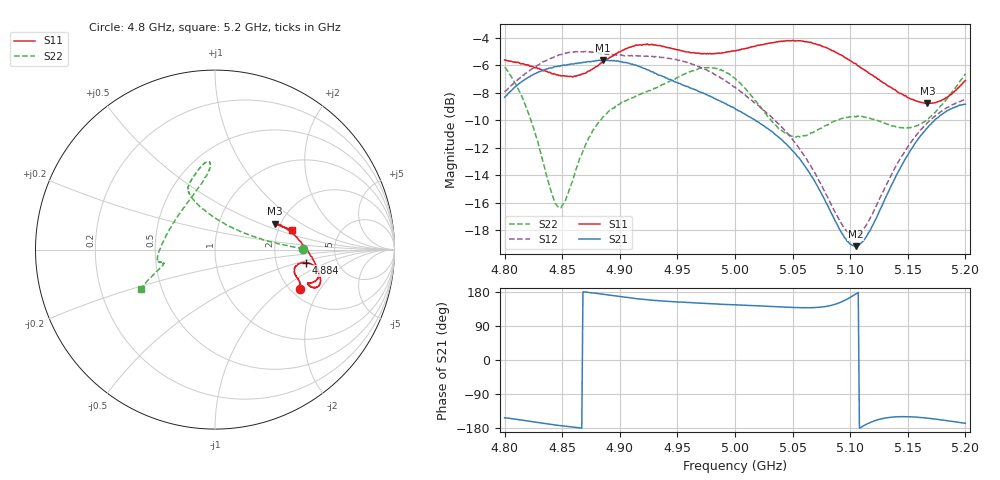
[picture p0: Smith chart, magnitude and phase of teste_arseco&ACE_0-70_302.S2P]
! Network Analyzer HP8722D
! Hewlett-Packard
! Data name: Linha & Wilkinson
! Saver's name: Rodrigo Anjos
! Comments: Teste da utilização de aquisição
! continua pelo VNA HP8722D
! Time and date: 8/5/2025 15:16
!  Frequency  S11  S21  S12  S22
# HZ  S  MA R 50
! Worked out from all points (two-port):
!   401 points, 4.8 GHz to 5.2 GHz, reference 50 ohm
!   highest |S21| = -5.62 dB at 4.885 GHz (marker M1); lowest = -19.2 dB at 5.105 GHz (marker M2)
!   |S21| within 3 dB of the highest: start of sweep to 4.987 GHz
!   lowest |S11| = -8.8 dB at 5.167 GHz (marker M3), VSWR 2.14, Z = 93.4 + j31 ohm
!   |S11| at or under -10 dB: nowhere
!   |S22| runs from -16.4 to -6.2 dB; largest |S21 - S12| = 1.1
!   S11 on the Smith chart (normalised r, x): 4.8 GHz: 2.24, -1.36; 4.884 GHz: 2.95, -0.60; 5.2 GHz: 2.36, +0.65
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4.8e9  0.5237 -24.9  0.3826 -152.6  0.4008 7.1  0.4917 0.6
4.818e9  0.5027 -20.9  0.4458 -159.9  0.4675 4.3  0.3587 5.2
4.84e9  0.4701 -17.5  0.4891 -170.0  0.5298 0.8  0.1756 34.5
4.846e9  0.4628 -16.1  0.496 -172.3  0.543 -0.2  0.1534 55.9
4.853e9  0.4568 -14.5  0.4994 -174.8  0.5548 -1.4  0.1621 80.8
4.867e9  0.465 -10.9  0.5121 -179.7  0.5605 -3.5  0.2378 107.1
4.884e9  0.5108 -8.4  0.5209 174.0  0.5511 -4.4  0.3184 114.1
4.885e9  0.5136 -8.0  0.5233 173.9  0.552 -4.4  0.3232 114.1
4.912e9  0.5868 -11.8  0.503 162.8  0.5418 -3.6  0.3817 112.8
4.934e9  0.5908 -16.9  0.4606 156.2  0.537 -4.4  0.4179 106.9
4.971e9  0.5519 -19.8  0.3978 149.6  0.4887 -7.5  0.4881 95.9
5e9  0.5648 -21.0  0.3482 145.8  0.4171 -7.8  0.4493 94.1
5.041e9  0.6107 -19.1  0.2671 140.0  0.2971 0.1  0.2886 128.1
5.067e9  0.603 -14.2  0.1962 138.3  0.2112 8.3  0.2843 165.2
5.094e9  0.5403 -4.2  0.1205 155.7  0.1296 35.3  0.3214 -173.5
5.105e9  0.5068 1.1  0.11 174.6  0.1207 56.8  0.3245 -169.9
5.115e9  0.4734 6.2  0.121 -168.1  0.1339 75.5  0.323 -167.8
5.134e9  0.4188 15.5  0.1765 -151.6  0.1936 93.9  0.3036 -166.7
5.152e9  0.3781 22.0  0.2442 -149.9  0.2595 98.7  0.2963 -164.6
5.167e9  0.3634 23.4  0.2962 -153.6  0.3089 99.2  0.3182 -161.7
5.183e9  0.3805 20.7  0.339 -159.7  0.3491 99.0  0.3736 -157.7
5.2e9  0.4412 14.6  0.3611 -167.0  0.3759 99.6  0.4656 -152.1
